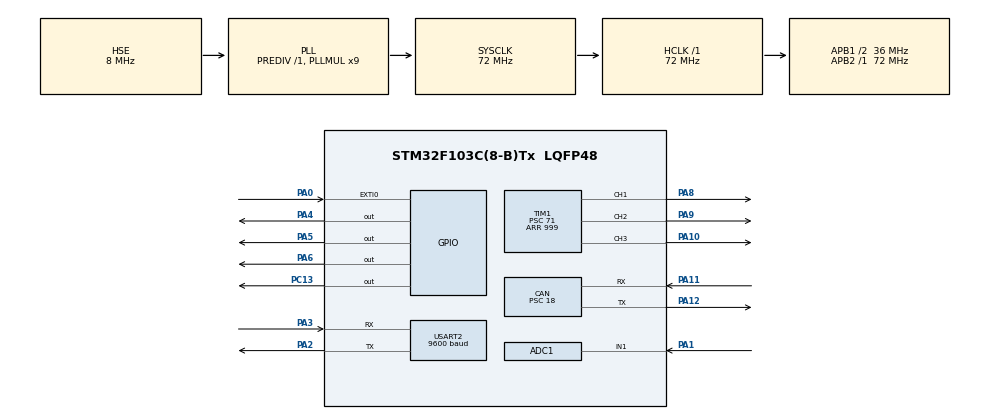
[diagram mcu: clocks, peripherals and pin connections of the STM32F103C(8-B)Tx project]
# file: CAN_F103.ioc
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ADC1.Channel-0\#ChannelRegularConversion=ADC_CHANNEL_1
ADC1.ContinuousConvMode=ENABLE
ADC1.NbrOfConversionFlag=1
ADC1.Rank-0\#ChannelRegularConversion=1
ADC1.SamplingTime-0\#ChannelRegularConversion=ADC_SAMPLETIME_1CYCLE_5
ADC1.master=1
CAN.BS1=CAN_BS1_5TQ
CAN.BS2=CAN_BS2_2TQ
CAN.CalculateBaudRate=250000
CAN.CalculateTimeBit=4000
CAN.CalculateTimeQuantum=500.0
CAN.Prescaler=18
Mcu.Family=STM32F1
Mcu.Name=STM32F103C(8-B)Tx
Mcu.Package=LQFP48
NVIC.EXTI0_IRQn=true\:0\:0\:false\:false\:true\:true\:true\:true
NVIC.PriorityGroup=NVIC_PRIORITYGROUP_0
NVIC.USB_LP_CAN1_RX0_IRQn=true\:0\:1\:false\:false\:true\:true\:true\:true
PA0-WKUP.Signal=GPXTI0
PA1.Signal=ADCx_IN1
PA10.Signal=S_TIM1_CH3
PA11.Mode=CAN_Activate
PA11.Signal=CAN_RX
PA12.Mode=CAN_Activate
PA12.Signal=CAN_TX
PA13.Mode=Serial_Wire
PA13.Signal=SYS_JTMS-SWDIO
PA14.Mode=Serial_Wire
PA14.Signal=SYS_JTCK-SWCLK
PA2.Mode=Asynchronous
PA2.Signal=USART2_TX
PA3.Mode=Asynchronous
PA3.Signal=USART2_RX
PA4.Signal=GPIO_Output
PA5.Signal=GPIO_Output
PA6.Signal=GPIO_Output
PA8.Signal=S_TIM1_CH1
PA9.Signal=S_TIM1_CH2
PC13-TAMPER-RTC.Signal=GPIO_Output
PD0-OSC_IN.Mode=HSE-External-Oscillator
PD0-OSC_IN.Signal=RCC_OSC_IN
PD1-OSC_OUT.Mode=HSE-External-Oscillator
PD1-OSC_OUT.Signal=RCC_OSC_OUT
ProjectManager.HeapSize=0x200
ProjectManager.StackSize=0x400
ProjectManager.TargetToolchain=STM32CubeIDE
RCC.AHBFreq_Value=72000000
RCC.APB1CLKDivider=RCC_HCLK_DIV2
RCC.APB1Freq_Value=36000000
RCC.APB1TimFreq_Value=72000000
RCC.APB2Freq_Value=72000000
RCC.APB2TimFreq_Value=72000000
RCC.HCLKFreq_Value=72000000
RCC.PLLMUL=RCC_PLL_MUL9
RCC.PLLSourceVirtual=RCC_PLLSOURCE_HSE
RCC.SYSCLKFreq_VALUE=72000000
RCC.SYSCLKSource=RCC_SYSCLKSOURCE_PLLCLK
RCC.USBFreq_Value=72000000
SH.ADCx_IN1.0=ADC1_IN1,IN1
SH.S_TIM1_CH1.0=TIM1_CH1,PWM Generation1 CH1
SH.S_TIM1_CH2.0=TIM1_CH2,PWM Generation2 CH2
SH.S_TIM1_CH3.0=TIM1_CH3,PWM Generation3 CH3
TIM1.Channel-PWM\ Generation1\ CH1=TIM_CHANNEL_1
TIM1.Channel-PWM\ Generation2\ CH2=TIM_CHANNEL_2
TIM1.Channel-PWM\ Generation3\ CH3=TIM_CHANNEL_3
TIM1.Period=999
TIM1.Prescaler=71
USART2.BaudRate=9600
USART2.VirtualMode=VM_ASYNC
board=custom

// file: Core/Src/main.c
/* USER CODE BEGIN Header */
/**
  ******************************************************************************
  * @file           : main.c
  * @brief          : Main program body
  ******************************************************************************
  * @attention
  *
  * Copyright (c) 2024 STMicroelectronics.
  * All rights reserved.
  *
  * This software is licensed under terms that can be found in the LICENSE file
  * in the root directory of this software component.
  * If no LICENSE file comes with this software, it is provided AS-IS.
  *
  ******************************************************************************
  */
/* USER CODE END Header */
#include "main.h"

ADC_HandleTypeDef hadc1;

CAN_HandleTypeDef hcan;

TIM_HandleTypeDef htim1;

UART_HandleTypeDef huart2;

/* USER CODE BEGIN PV */

CAN_TxHeaderTypeDef pTXHeader;
CAN_TxHeaderTypeDef pTXHeader2;
CAN_TxHeaderTypeDef pTXHeader3;
CAN_TxHeaderTypeDef pTXHeader4;
CAN_TxHeaderTypeDef pTXHeader5;
CAN_TxHeaderTypeDef pTXHeader6;
CAN_TxHeaderTypeDef pTXHeader7;
CAN_TxHeaderTypeDef pTXHeader8;
CAN_TxHeaderTypeDef pTXHeader9;
CAN_TxHeaderTypeDef pTXHeaderBV;
CAN_RxHeaderTypeDef pRXHeader;
CAN_FilterTypeDef sfilterconfig;
uint32_t pTxMailbox;
uint8_t count;
uint16_t rcount,rcount2,rcount3;
uint8_t adc_value[1]={0};
uint8_t deger=0;
int durum;
int durum2;

uint16_t adcValue = 0;
uint8_t adcValueHigh = 0;
uint8_t adcValueLow = 0;
uint8_t data[8]; // CAN mesajı veri alanı
uint8_t data2[8];
uint8_t data23[8];
uint8_t led_set=1;
uint8_t led_reset=0;
char rx_buffer[50];
 char tx_buffer[50];
/* USER CODE END PV */

void SystemClock_Config(void);
static void MX_GPIO_Init(void);
static void MX_CAN_Init(void);
static void MX_ADC1_Init(void);
static void MX_TIM1_Init(void);
static void MX_USART2_UART_Init(void);

/* USER CODE BEGIN 0 */
void Set_PWM_Duty(uint16_t duty) {
    // 0-255 arası gelen duty değerini 0-999 arası bir değere dönüştür
    uint16_t pulse_length = ((uint32_t)duty * 1000) / 4095; //1khz lik ve 12 bit adc olduğu için pwm değerini ayarlıyor
    TIM1->CCR1 = pulse_length; //değer setlendi
}
void Set_PWM_Duty2(uint16_t duty) {
    // 0-255 arası gelen duty değerini 0-999 arası bir değere dönüştür
    uint16_t pulse_length = ((uint32_t)duty * 1000) / 4095; //1khz lik ve 12 bit adc olduğu için pwm değerini ayarlıyor
    TIM1->CCR2 = pulse_length; //değer setlendi
}
void Set_PWM_Duty3(uint16_t duty) {
    // 0-255 arası gelen duty değerini 0-999 arası bir değere dönüştür
    uint16_t pulse_length = ((uint32_t)duty * 1000) / 4095; //1khz lik ve 12 bit adc olduğu için pwm değerini ayarlıyor
    TIM1->CCR3 = pulse_length; //değer setlendi
}
/* USER CODE END 0 */

int main(void)
{

  /* MCU Configuration--------------------------------------------------------*/

  /* Reset of all peripherals, Initializes the Flash interface and the Systick. */
  HAL_Init();

  /* Configure the system clock */
  SystemClock_Config();

  /* Initialize all configured peripherals */
  MX_GPIO_Init();
  MX_CAN_Init();
  MX_ADC1_Init();
  MX_TIM1_Init();
  MX_USART2_UART_Init();
  /* USER CODE BEGIN 2 */

	HAL_GPIO_WritePin(GPIOC, GPIO_PIN_13, 1);

  //Can baslatildi
  HAL_CAN_Start(&hcan);
  //interrupt için aktif edilme
  HAL_CAN_ActivateNotification(&hcan, CAN_IT_RX_FIFO0_MSG_PENDING); //mesaj geldi mesaj bekleniyor

  pTXHeader.DLC=1;  //1byte lık değer geldiğini ifade eder
  pTXHeader.IDE=CAN_ID_STD; //standart ID kullanılıcağı belirtir
  pTXHeader.RTR=CAN_RTR_DATA; //data gönderilmesini transmit yapıldığını belirtir
  pTXHeader.StdId=0x0156; //mesage ID numarasıdır

  pTXHeader2.DLC=1;
  pTXHeader2.IDE=CAN_ID_STD;
  pTXHeader2.RTR=CAN_RTR_DATA;
  pTXHeader2.StdId=0x0158;

  pTXHeader3.DLC=1;
  pTXHeader3.IDE=CAN_ID_STD;
  pTXHeader3.RTR=CAN_RTR_DATA;
  pTXHeader3.StdId=0x0160;

  pTXHeader4.DLC=1;
  pTXHeader4.IDE=CAN_ID_STD;
  pTXHeader4.RTR=CAN_RTR_DATA;
  pTXHeader4.StdId=0x0162;

  pTXHeader5.DLC=1;
  pTXHeader5.IDE=CAN_ID_STD;
  pTXHeader5.RTR=CAN_RTR_DATA;
  pTXHeader5.StdId=0x0163;

  pTXHeader6.DLC=1;
  pTXHeader6.IDE=CAN_ID_STD;
  pTXHeader6.RTR=CAN_RTR_DATA;
  pTXHeader6.StdId=0x0164;

  pTXHeader7.DLC=1;
  pTXHeader7.IDE=CAN_ID_STD;
  pTXHeader7.RTR=CAN_RTR_DATA;
  pTXHeader7.StdId=0x0165;

  pTXHeader8.DLC=1;
  pTXHeader8.IDE=CAN_ID_STD;
  pTXHeader8.RTR=CAN_RTR_DATA;
  pTXHeader8.StdId=0x0166;

  pTXHeader9.DLC=1;
  pTXHeader9.IDE=CAN_ID_STD;
  pTXHeader9.RTR=CAN_RTR_DATA;
  pTXHeader9.StdId=0x0167;

  sfilterconfig.FilterActivation=ENABLE;
  sfilterconfig.FilterBank=0;
  sfilterconfig.FilterFIFOAssignment=CAN_FILTER_FIFO0;
  sfilterconfig.FilterIdHigh=0x0000;
  sfilterconfig.FilterIdLow=0x0000;
  sfilterconfig.FilterMaskIdHigh=0x0000;
  sfilterconfig.FilterMaskIdLow=0x0000;
  sfilterconfig.FilterMode=CAN_FILTERMODE_IDMASK;
  sfilterconfig.FilterScale=CAN_FILTERSCALE_32BIT;

  HAL_CAN_ConfigFilter(&hcan, &sfilterconfig);
  HAL_TIM_PWM_Start(&htim1, TIM_CHANNEL_1);
  HAL_TIM_PWM_Start(&htim1, TIM_CHANNEL_2);
  HAL_TIM_PWM_Start(&htim1, TIM_CHANNEL_3);

  /* USER CODE END 2 */

  /* Infinite loop */
  while (1)
  {

    /* USER CODE BEGIN 3 */
	 //HAL_ADC_Start(&hadc1);
 //deger =(uint8_t)(HAL_ADC_GetValue(&hadc1));
	  // ADC değerini okuyun

	 //adcValue = HAL_ADC_GetValue(&hadc1);

	  // 12 bitlik ADC değerini iki 8 bitlik parçaya bölün
	  //adcValueHigh = (adcValue >> 4) & 0xFF; // Yüksek 8 bit 12 bitlik veriyi 8 ve 4 bit paketliyor
	  //adcValueLow = (adcValue & 0x0F) << 4;  // Düşük 4 bit

	  //data[0] = adcValueHigh; //gönderilmesi için değerleri dizide tutuyor
	  //data[1] = adcValueLow;

//      HAL_CAN_AddTxMessage(&hcan, &pTXHeader, data, &pTxMailbox); //bu iki değeri gönderiyor
	//  HAL_CAN_AddTxMessage(&hcan, &pTXHeader2, data, &pTxMailbox);
	  //HAL_CAN_AddTxMessage(&hcan, &pTXHeader3, data, &pTxMailbox);
	 // adcValueHigh = data[0]; //okunan data değerleri 8 ve 4 bit olarak toplam 12 bit oluyor
	  //adcValueLow = data[1];

	 // 12 bitlik ADC değerini yeniden oluşturun
	 //rcount = (adcValueHigh << 4) | (adcValueLow >> 4); // değerleri toplayarak 16 bitlik değeşkene 12 bitlik adc değeri olcak şekilde atıyor

	  ////////////////uart////////////////////////////////////////////////////////////////////////

	  HAL_UART_Receive(&huart2, (uint8_t*)rx_buffer, 50, 100);

	  	  if(rx_buffer[0]=='l' && rx_buffer[1]=='e' && rx_buffer[2]=='d' &&
	  			  rx_buffer[3]=='1' && rx_buffer[4]==' ' && rx_buffer[5]=='o' && rx_buffer[6]=='n'){

	  		HAL_GPIO_WritePin(GPIOA, GPIO_PIN_4, SET);
	  		HAL_CAN_AddTxMessage(&hcan, &pTXHeader4, &led_set, &pTxMailbox);
	  		  //HAL_UART_Transmit(&huart2, (uint8_t*)tx_buffer, sprintf(tx_buffer,"birinci led yandi."), 100);
	  	  }

	  	   else if(rx_buffer[0]=='l' && rx_buffer[1]=='e' && rx_buffer[2]=='d' &&
	  				  rx_buffer[3]=='1' && rx_buffer[4]==' ' && rx_buffer[5]=='o' && rx_buffer[6]=='f' &&
	  				  rx_buffer[7]=='f'){
		  		HAL_CAN_AddTxMessage(&hcan, &pTXHeader5,&led_reset, &pTxMailbox);

	  		   //HAL_UART_Transmit(&huart2, (uint8_t*)tx_buffer, sprintf(tx_buffer,"birinci led söndü."), 100);
	  	   }

	  	  if(rx_buffer[0]=='l' && rx_buffer[1]=='e' && rx_buffer[2]=='d' &&
	  	 			  rx_buffer[3]=='2' && rx_buffer[4]==' ' && rx_buffer[5]=='o' && rx_buffer[6]=='n'){
	  		HAL_CAN_AddTxMessage(&hcan, &pTXHeader6, &led_set, &pTxMailbox);
	  		  //HAL_UART_Transmit(&huart2, (uint8_t*)tx_buffer, sprintf(tx_buffer,"ikinci led yandi."), 100);
	  	  }

	  	 	   else if(rx_buffer[0]=='l' && rx_buffer[1]=='e' && rx_buffer[2]=='d' &&
	  	 				  rx_buffer[3]=='2' && rx_buffer[4]==' ' && rx_buffer[5]=='o' && rx_buffer[6]=='f' &&
	  	 				  rx_buffer[7]=='f'){
	  	 		HAL_CAN_AddTxMessage(&hcan, &pTXHeader7, &led_reset, &pTxMailbox);
	  	 		 // HAL_UART_Transmit(&huart2, (uint8_t*)tx_buffer, sprintf(tx_buffer,"ikinci led söndü."), 100);
	  	 	   }

	  	  if(rx_buffer[0]=='l' && rx_buffer[1]=='e' && rx_buffer[2]=='d' &&
	  	 			  rx_buffer[3]=='3' && rx_buffer[4]==' ' && rx_buffer[5]=='o' && rx_buffer[6]=='n'){
	  		HAL_CAN_AddTxMessage(&hcan, &pTXHeader8, &led_set, &pTxMailbox);
	  		 // HAL_UART_Transmit(&huart2, (uint8_t*)tx_buffer, sprintf(tx_buffer,"ücüncü led yandi."), 100);
	  	  }

	  	 	   else if(rx_buffer[0]=='l' && rx_buffer[1]=='e' && rx_buffer[2]=='d' &&
	  	 				  rx_buffer[3]=='3' && rx_buffer[4]==' ' && rx_buffer[5]=='o' && rx_buffer[6]=='f' &&
	  	 				  rx_buffer[7]=='f'){
	  	 		HAL_CAN_AddTxMessage(&hcan, &pTXHeader9, &led_reset, &pTxMailbox);
	  	 		 // HAL_UART_Transmit(&huart2, (uint8_t*)tx_buffer, sprintf(tx_buffer,"ücüncü led söndü."), 100);
	  	 	   }

	  	  ////////////////////////////uart_end///////////////////////////////////////////////////

     Set_PWM_Duty(rcount); //pwm fonksiyonuna bu değeri gönderiyor
     Set_PWM_Duty2(rcount2);
     Set_PWM_Duty3(rcount3);

  }
  /* USER CODE END 3 */
}

void SystemClock_Config(void)
{
  RCC_OscInitTypeDef RCC_OscInitStruct = {0};
  RCC_ClkInitTypeDef RCC_ClkInitStruct = {0};
  RCC_PeriphCLKInitTypeDef PeriphClkInit = {0};

  /** Initializes the RCC Oscillators according to the specified parameters
  * in the RCC_OscInitTypeDef structure.
  */
  RCC_OscInitStruct.OscillatorType = RCC_OSCILLATORTYPE_HSE;
  RCC_OscInitStruct.HSEState = RCC_HSE_ON;
  RCC_OscInitStruct.HSEPredivValue = RCC_HSE_PREDIV_DIV1;
  RCC_OscInitStruct.HSIState = RCC_HSI_ON;
  RCC_OscInitStruct.PLL.PLLState = RCC_PLL_ON;
  RCC_OscInitStruct.PLL.PLLSource = RCC_PLLSOURCE_HSE;
  RCC_OscInitStruct.PLL.PLLMUL = RCC_PLL_MUL9;
  if (HAL_RCC_OscConfig(&RCC_OscInitStruct) != HAL_OK)
  {
    Error_Handler();
  }

  /** Initializes the CPU, AHB and APB buses clocks
  */
  RCC_ClkInitStruct.ClockType = RCC_CLOCKTYPE_HCLK|RCC_CLOCKTYPE_SYSCLK
                              |RCC_CLOCKTYPE_PCLK1|RCC_CLOCKTYPE_PCLK2;
  RCC_ClkInitStruct.SYSCLKSource = RCC_SYSCLKSOURCE_PLLCLK;
  RCC_ClkInitStruct.AHBCLKDivider = RCC_SYSCLK_DIV1;
  RCC_ClkInitStruct.APB1CLKDivider = RCC_HCLK_DIV2;
  RCC_ClkInitStruct.APB2CLKDivider = RCC_HCLK_DIV1;

  if (HAL_RCC_ClockConfig(&RCC_ClkInitStruct, FLASH_LATENCY_2) != HAL_OK)
  {
    Error_Handler();
  }
  PeriphClkInit.PeriphClockSelection = RCC_PERIPHCLK_ADC;
  PeriphClkInit.AdcClockSelection = RCC_ADCPCLK2_DIV2;
  if (HAL_RCCEx_PeriphCLKConfig(&PeriphClkInit) != HAL_OK)
  {
    Error_Handler();
  }
}

static void MX_ADC1_Init(void)
{

  ADC_ChannelConfTypeDef sConfig = {0};

  /** Common config
  */
  hadc1.Instance = ADC1;
  hadc1.Init.ScanConvMode = ADC_SCAN_DISABLE;
  hadc1.Init.ContinuousConvMode = ENABLE;
  hadc1.Init.DiscontinuousConvMode = DISABLE;
  hadc1.Init.ExternalTrigConv = ADC_SOFTWARE_START;
  hadc1.Init.DataAlign = ADC_DATAALIGN_RIGHT;
  hadc1.Init.NbrOfConversion = 1;
  if (HAL_ADC_Init(&hadc1) != HAL_OK)
  {
    Error_Handler();
  }

  /** Configure Regular Channel
  */
  sConfig.Channel = ADC_CHANNEL_1;
  sConfig.Rank = ADC_REGULAR_RANK_1;
  sConfig.SamplingTime = ADC_SAMPLETIME_1CYCLE_5;
  if (HAL_ADC_ConfigChannel(&hadc1, &sConfig) != HAL_OK)
  {
    Error_Handler();
  }

}

static void MX_CAN_Init(void)
{

  hcan.Instance = CAN1;
  hcan.Init.Prescaler = 18;
  hcan.Init.Mode = CAN_MODE_NORMAL;
  hcan.Init.SyncJumpWidth = CAN_SJW_1TQ;
  hcan.Init.TimeSeg1 = CAN_BS1_5TQ;
  hcan.Init.TimeSeg2 = CAN_BS2_2TQ;
  hcan.Init.TimeTriggeredMode = DISABLE;
  hcan.Init.AutoBusOff = DISABLE;
  hcan.Init.AutoWakeUp = DISABLE;
  hcan.Init.AutoRetransmission = DISABLE;
  hcan.Init.ReceiveFifoLocked = DISABLE;
  hcan.Init.TransmitFifoPriority = DISABLE;
  if (HAL_CAN_Init(&hcan) != HAL_OK)
  {
    Error_Handler();
  }

}

static void MX_TIM1_Init(void)
{

  TIM_MasterConfigTypeDef sMasterConfig = {0};
  TIM_OC_InitTypeDef sConfigOC = {0};
  TIM_BreakDeadTimeConfigTypeDef sBreakDeadTimeConfig = {0};

  htim1.Instance = TIM1;
  htim1.Init.Prescaler = 71;
  htim1.Init.CounterMode = TIM_COUNTERMODE_UP;
  htim1.Init.Period = 999;
  htim1.Init.ClockDivision = TIM_CLOCKDIVISION_DIV1;
  htim1.Init.RepetitionCounter = 0;
  htim1.Init.AutoReloadPreload = TIM_AUTORELOAD_PRELOAD_DISABLE;
  if (HAL_TIM_PWM_Init(&htim1) != HAL_OK)
  {
    Error_Handler();
  }
  sMasterConfig.MasterOutputTrigger = TIM_TRGO_RESET;
  sMasterConfig.MasterSlaveMode = TIM_MASTERSLAVEMODE_DISABLE;
  if (HAL_TIMEx_MasterConfigSynchronization(&htim1, &sMasterConfig) != HAL_OK)
  {
    Error_Handler();
  }
  sConfigOC.OCMode = TIM_OCMODE_PWM1;
  sConfigOC.Pulse = 0;
  sConfigOC.OCPolarity = TIM_OCPOLARITY_HIGH;
  sConfigOC.OCNPolarity = TIM_OCNPOLARITY_HIGH;
  sConfigOC.OCFastMode = TIM_OCFAST_DISABLE;
  sConfigOC.OCIdleState = TIM_OCIDLESTATE_RESET;
  sConfigOC.OCNIdleState = TIM_OCNIDLESTATE_RESET;
  if (HAL_TIM_PWM_ConfigChannel(&htim1, &sConfigOC, TIM_CHANNEL_1) != HAL_OK)
  {
    Error_Handler();
  }
  if (HAL_TIM_PWM_ConfigChannel(&htim1, &sConfigOC, TIM_CHANNEL_2) != HAL_OK)
  {
    Error_Handler();
  }
  if (HAL_TIM_PWM_ConfigChannel(&htim1, &sConfigOC, TIM_CHANNEL_3) != HAL_OK)
  {
    Error_Handler();
  }
  sBreakDeadTimeConfig.OffStateRunMode = TIM_OSSR_DISABLE;
  sBreakDeadTimeConfig.OffStateIDLEMode = TIM_OSSI_DISABLE;
  sBreakDeadTimeConfig.LockLevel = TIM_LOCKLEVEL_OFF;
  sBreakDeadTimeConfig.DeadTime = 0;
  sBreakDeadTimeConfig.BreakState = TIM_BREAK_DISABLE;
  sBreakDeadTimeConfig.BreakPolarity = TIM_BREAKPOLARITY_HIGH;
  sBreakDeadTimeConfig.AutomaticOutput = TIM_AUTOMATICOUTPUT_DISABLE;
  if (HAL_TIMEx_ConfigBreakDeadTime(&htim1, &sBreakDeadTimeConfig) != HAL_OK)
  {
    Error_Handler();
  }
  HAL_TIM_MspPostInit(&htim1);

}

static void MX_USART2_UART_Init(void)
{

  huart2.Instance = USART2;
  huart2.Init.BaudRate = 9600;
  huart2.Init.WordLength = UART_WORDLENGTH_8B;
  huart2.Init.StopBits = UART_STOPBITS_1;
  huart2.Init.Parity = UART_PARITY_NONE;
  huart2.Init.Mode = UART_MODE_TX_RX;
  huart2.Init.HwFlowCtl = UART_HWCONTROL_NONE;
  huart2.Init.OverSampling = UART_OVERSAMPLING_16;
  if (HAL_UART_Init(&huart2) != HAL_OK)
  {
    Error_Handler();
  }

}

static void MX_GPIO_Init(void)
{
  GPIO_InitTypeDef GPIO_InitStruct = {0};

  /* GPIO Ports Clock Enable */
  __HAL_RCC_GPIOC_CLK_ENABLE();
  __HAL_RCC_GPIOD_CLK_ENABLE();
  __HAL_RCC_GPIOA_CLK_ENABLE();

  /*Configure GPIO pin Output Level */
  HAL_GPIO_WritePin(GPIOC, GPIO_PIN_13, GPIO_PIN_RESET);

  /*Configure GPIO pin Output Level */
  HAL_GPIO_WritePin(GPIOA, GPIO_PIN_4|GPIO_PIN_5|GPIO_PIN_6, GPIO_PIN_RESET);

  /*Configure GPIO pin : PC13 */
  GPIO_InitStruct.Pin = GPIO_PIN_13;
  GPIO_InitStruct.Mode = GPIO_MODE_OUTPUT_PP;
  GPIO_InitStruct.Pull = GPIO_NOPULL;
  GPIO_InitStruct.Speed = GPIO_SPEED_FREQ_LOW;
  HAL_GPIO_Init(GPIOC, &GPIO_InitStruct);

  /*Configure GPIO pin : PA0 */
  GPIO_InitStruct.Pin = GPIO_PIN_0;
  GPIO_InitStruct.Mode = GPIO_MODE_IT_RISING;
  GPIO_InitStruct.Pull = GPIO_NOPULL;
  HAL_GPIO_Init(GPIOA, &GPIO_InitStruct);

  /*Configure GPIO pins : PA4 PA5 PA6 */
  GPIO_InitStruct.Pin = GPIO_PIN_4|GPIO_PIN_5|GPIO_PIN_6;
  GPIO_InitStruct.Mode = GPIO_MODE_OUTPUT_PP;
  GPIO_InitStruct.Pull = GPIO_NOPULL;
  GPIO_InitStruct.Speed = GPIO_SPEED_FREQ_LOW;
  HAL_GPIO_Init(GPIOA, &GPIO_InitStruct);

  /* EXTI interrupt init*/
  HAL_NVIC_SetPriority(EXTI0_IRQn, 0, 0);
  HAL_NVIC_EnableIRQ(EXTI0_IRQn);

}

void Error_Handler(void)
{
  __disable_irq();
  while (1)
  {
  }
}
